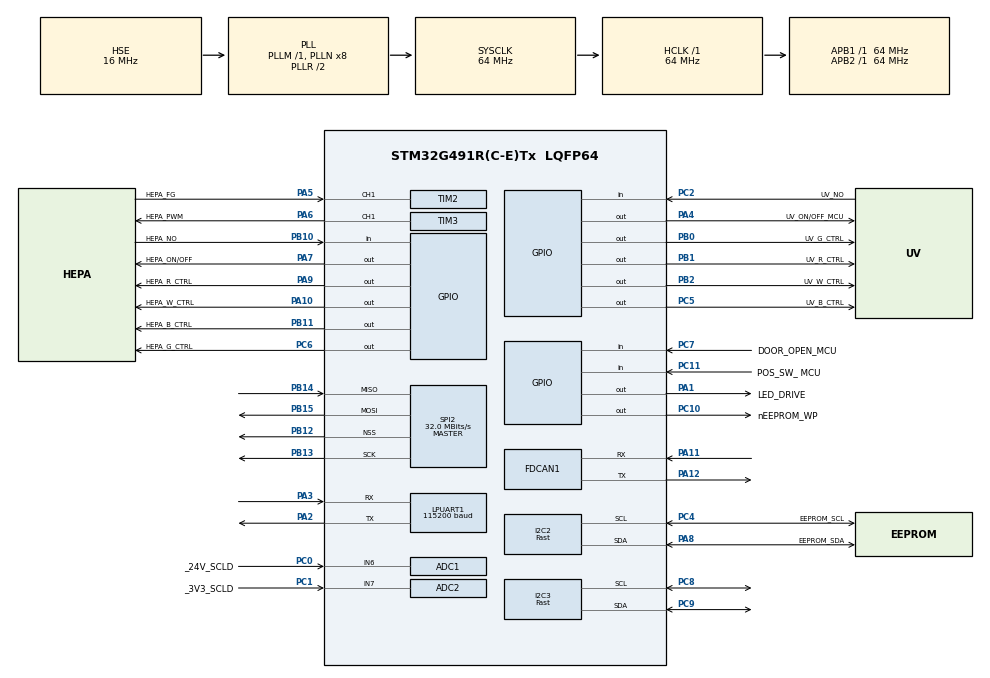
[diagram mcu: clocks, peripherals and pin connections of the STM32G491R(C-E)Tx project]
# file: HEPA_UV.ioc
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ADC1.Channel-1\#ChannelRegularConversion=ADC_CHANNEL_6
ADC1.NbrOfConversionFlag=1
ADC1.OffsetNumber-1\#ChannelRegularConversion=ADC_OFFSET_NONE
ADC1.Rank-1\#ChannelRegularConversion=1
ADC1.SamplingTime-1\#ChannelRegularConversion=ADC_SAMPLETIME_12CYCLES_5
ADC1.master=1
ADC2.Channel-0\#ChannelRegularConversion=ADC_CHANNEL_7
ADC2.NbrOfConversionFlag=1
ADC2.OffsetNumber-0\#ChannelRegularConversion=ADC_OFFSET_NONE
ADC2.Rank-0\#ChannelRegularConversion=1
ADC2.SamplingTime-0\#ChannelRegularConversion=ADC_SAMPLETIME_2CYCLES_5
FDCAN1.CalculateBaudRateNominal=500000
FDCAN1.CalculateTimeBitNominal=2000
FDCAN1.CalculateTimeQuantumNominal=15.625
FDCAN1.DataTimeSeg1=32
FDCAN1.NominalPrescaler=1
FDCAN1.NominalTimeSeg1=110
FDCAN1.NominalTimeSeg2=17
I2C2.I2C_Speed_Mode=I2C_Fast
I2C2.Timing=0x00602173
I2C3.I2C_Speed_Mode=I2C_Fast
I2C3.Timing=0x00602173
LPUART1.BaudRate=115200
Mcu.Family=STM32G4
Mcu.Name=STM32G491R(C-E)Tx
Mcu.Package=LQFP64
NVIC.PriorityGroup=NVIC_PRIORITYGROUP_4
NVIC.TIM2_IRQn=true\:0\:0\:false\:false\:true\:true\:true\:true
PA1.GPIO_Label=LED_DRIVE
PA1.GPIO_ModeDefaultOutputPP=GPIO_MODE_OUTPUT_OD
PA1.GPIO_PuPd=GPIO_NOPULL
PA1.Signal=GPIO_Output
PA10.GPIO_Label=HEPA_W_CTRL
PA10.Signal=GPIO_Output
PA11.Mode=FDCAN_Activate
PA11.Signal=FDCAN1_RX
PA12.Mode=FDCAN_Activate
PA12.Signal=FDCAN1_TX
PA13.Signal=SYS_JTMS-SWDIO
PA14.Signal=SYS_JTCK-SWCLK
PA15.Signal=SYS_JTDI
PA2.Mode=Asynchronous
PA2.Signal=LPUART1_TX
PA3.Mode=Asynchronous
PA3.Signal=LPUART1_RX
PA4.GPIO_Label=UV_ON/OFF_MCU
PA4.GPIO_Speed=GPIO_SPEED_FREQ_LOW
PA4.PinState=GPIO_PIN_RESET
PA4.Signal=GPIO_Output
PA5.GPIO_Label=HEPA_FG
PA5.Signal=S_TIM2_CH1
PA6.GPIO_Label=HEPA_PWM
PA6.Signal=S_TIM3_CH1
PA7.GPIO_Label=HEPA_ON/OFF
PA7.PinState=GPIO_PIN_RESET
PA7.Signal=GPIO_Output
PA8.GPIO_Label=EEPROM_SDA
PA8.Mode=I2C
PA8.Signal=I2C2_SDA
PA9.GPIO_Label=HEPA_R_CTRL
PA9.Signal=GPIO_Output
PB0.GPIO_Label=UV_G_CTRL
PB0.Signal=GPIO_Output
PB1.GPIO_Label=UV_R_CTRL
PB1.Signal=GPIO_Output
PB10.GPIO_Label=HEPA_NO
PB10.Signal=GPIO_Input
PB11.GPIO_Label=HEPA_B_CTRL
PB11.Signal=GPIO_Output
PB12.Mode=NSS_Signal_Hard_Output
PB12.Signal=SPI2_NSS
PB13.Mode=Full_Duplex_Master
PB13.Signal=SPI2_SCK
PB14.Mode=Full_Duplex_Master
PB14.Signal=SPI2_MISO
PB15.Mode=Full_Duplex_Master
PB15.Signal=SPI2_MOSI
PB2.GPIO_Label=UV_W_CTRL
PB2.Signal=GPIO_Output
PB3.Signal=SYS_JTDO-SWO
PC0.GPIO_Label=_24V_SCLD
PC0.Mode=IN6-Single-Ended
PC0.Signal=ADC1_IN6
PC1.GPIO_Label=_3V3_SCLD
PC1.Signal=SharedAnalog_PC1
PC10.GPIO_Label=nEEPROM_WP
PC10.GPIO_ModeDefaultOutputPP=GPIO_MODE_OUTPUT_OD
PC10.GPIO_PuPd=GPIO_NOPULL
PC10.Signal=GPIO_Output
PC11.GPIO_Label=POS_SW_ MCU
PC11.Signal=GPIO_Input
PC2.GPIO_Label=UV_NO
PC2.Signal=GPIO_Input
PC4.GPIO_Label=EEPROM_SCL
PC4.Mode=I2C
PC4.Signal=I2C2_SCL
PC5.GPIO_Label=UV_B_CTRL
PC5.Signal=GPIO_Output
PC6.GPIO_Label=HEPA_G_CTRL
PC6.Signal=GPIO_Output
PC7.GPIO_Label=DOOR_OPEN_MCU
PC7.Signal=GPIO_Input
PC8.Mode=I2C
PC8.Signal=I2C3_SCL
PC9.Mode=I2C
PC9.Signal=I2C3_SDA
PF0-OSC_IN.Mode=HSE-External-Oscillator
PF0-OSC_IN.Signal=RCC_OSC_IN
PF1-OSC_OUT.Mode=HSE-External-Oscillator
PF1-OSC_OUT.Signal=RCC_OSC_OUT
ProjectManager.HeapSize=0x200
ProjectManager.StackSize=0x400
ProjectManager.TargetToolchain=STM32CubeIDE
RCC.ADC12Freq_Value=64000000
RCC.ADC345Freq_Value=64000000
RCC.AHBFreq_Value=64000000
RCC.APB1Freq_Value=64000000
RCC.APB1TimFreq_Value=64000000
RCC.APB2Freq_Value=64000000
RCC.APB2TimFreq_Value=64000000
RCC.CortexFreq_Value=64000000
RCC.EXTERNAL_CLOCK_VALUE=12288000
RCC.HCLKFreq_Value=64000000
RCC.HSE_VALUE=16000000
RCC.HSI48_VALUE=48000000
RCC.HSI_VALUE=16000000
RCC.LSE_VALUE=32768
RCC.PLLSourceVirtual=RCC_PLLSOURCE_HSE
RCC.SYSCLKFreq_VALUE=64000000
RCC.SYSCLKSource=RCC_SYSCLKSOURCE_PLLCLK
RCC.USBFreq_Value=48000000
RCC.VCOOutputFreq_Value=128000000
SH.S_TIM2_CH1.0=TIM2_CH1,Input_Capture1_from_TI1
SH.S_TIM3_CH1.0=TIM3_CH1,PWM Generation1 CH1
SH.SharedAnalog_PC1.0=ADC2_IN7,IN7-Single-Ended
SH.SharedAnalog_PC1.1=ADC1_IN7,IN7-Single-Ended
SPI2.CalculateBaudRate=32.0 MBits/s
SPI2.Direction=SPI_DIRECTION_2LINES
SPI2.Mode=SPI_MODE_MASTER
SPI2.VirtualNSS=VM_NSSHARD
SPI2.VirtualType=VM_MASTER
TIM2.Channel-Input_Capture1_from_TI1=TIM_CHANNEL_1
TIM2.Prescaler=640-1
TIM3.Channel-PWM\ Generation1\ CH1=TIM_CHANNEL_1
VP_SYS_VS_DBSignals.Mode=DisableDeadBatterySignals
VP_TIM2_VS_ClockSourceINT.Mode=Internal
VP_TIM3_VS_ClockSourceINT.Mode=Internal
board=custom

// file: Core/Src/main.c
/* USER CODE BEGIN Header */

/*
 * HEPA/UV Test Code
*/
/**
  ******************************************************************************
  * @file           : main.c
  * @brief          : Main program body for HEPA_UV PCBA
  ******************************************************************************
  * @attention
  *
  * Copyright (c) 2022 STMicroelectronics.
  * All rights reserved.
  *
  * This software is licensed under terms that can be found in the LICENSE file
  * in the root directory of this software component.
  * If no LICENSE file comes with this software, it is provided AS-IS.
  *
  ******************************************************************************
  */
/* USER CODE END Header */
#include "main.h"

/* USER CODE BEGIN Includes */
#include "EEPROM.h"
#include "can.h"
#include "LEDs.h"
#include "voltage_monitors.h"
#include <math.h>
#include <string.h>
#include <stdio.h>
/* USER CODE END Includes */

ADC_HandleTypeDef hadc1;
ADC_HandleTypeDef hadc2;

FDCAN_HandleTypeDef hfdcan1;

I2C_HandleTypeDef hi2c2;
I2C_HandleTypeDef hi2c3;

UART_HandleTypeDef hlpuart1;

SPI_HandleTypeDef hspi2;

TIM_HandleTypeDef htim2;
TIM_HandleTypeDef htim3;

void SystemClock_Config(void);
static void MX_GPIO_Init(void);
static void MX_FDCAN1_Init(void);
static void MX_I2C2_Init(void);
static void MX_LPUART1_UART_Init(void);
static void MX_TIM2_Init(void);
static void MX_TIM3_Init(void);
static void MX_ADC1_Init(void);
static void MX_ADC2_Init(void);
static void MX_I2C3_Init(void);
static void MX_SPI2_Init(void);
/* USER CODE BEGIN PFP */

void UVLEDTest(void);
void HEPALEDTest(void);

/* USER CODE END PFP */

/* USER CODE BEGIN 0 */

#define TIMCLOCK   64000000
#define PRESCALAR  64

uint32_t IC_Val1 = 0;
uint32_t IC_Val2 = 0;
uint32_t IC_Val3 = 0;
uint32_t IC_Val4 = 0;
uint32_t IC_Val5 = 0;
uint32_t DifferenceT1 = 0;
uint32_t DifferenceT2 = 0;
uint32_t DifferenceT3 = 0;
uint32_t DifferenceT4 = 0;
int Is_First_Captured = 0;
int Is_Second_Captured = 0;
int Is_Third_Captured = 0;
int Is_Fourth_Captured = 0;
uint32_t usWidthT1 = 0;
uint32_t usWidthT2 = 0;
uint32_t usWidthT3 = 0;
uint32_t usWidthT4 = 0;
uint32_t usWidthT = 0;
float RPM = 0;
char buf[100];
int ready = 1;

/* CAN Configuration */
uint8_t debug_str[32];
uint8_t RxData[8];
uint8_t TxData[8];
FDCAN_RxHeaderTypeDef RxHeader;
FDCAN_TxHeaderTypeDef TxHeader;

/* EEPROM */
uint8_t dataRead[50];
uint8_t dataWrite[50];
uint8_t dataw1[] = "HEPA/UV \r\n";
uint8_t dataw2[] = "PN: 913-00072 \r\n";
uint8_t dataw3[] = "SN: 0002 \r\n";
uint8_t datar1[100];
uint8_t datar2[100];
uint8_t datar3[100];

//void HAL_TIM_IC_CaptureCallback(TIM_HandleTypeDef *htim)
//	{
//	if (htim->Channel == HAL_TIM_ACTIVE_CHANNEL_1)  // if the interrupt source is channel1
//	{
//		//HAL_GPIO_TogglePin(LED_DRIVE_GPIO_Port, LED_DRIVE_Pin);
//		//HAL_UART_Transmit(&hlpuart1, dataw3, sizeof(dataw3), HAL_MAX_DELAY);
//
//		if (Is_First_Captured==0) // if the first value is not captured yet
//		{
//			IC_Val1 = HAL_TIM_ReadCapturedValue(htim, TIM_CHANNEL_1); // read the first value
//			Is_First_Captured = 1;  // set the first captured as true
//		}
//
//		else if (Is_Second_Captured==0) // if the second value is not captured yet
//		{
//			IC_Val2 = HAL_TIM_ReadCapturedValue(htim, TIM_CHANNEL_1); // read the second value
//			if (IC_Val2 > IC_Val1)
//				{
//					DifferenceT1 = IC_Val2-IC_Val1;
//				}
//
//			else if (IC_Val1 > IC_Val2)
//				{
//					DifferenceT1 = (0xffffffff - IC_Val1) + IC_Val2;
//				}
//
//			float refClock = TIMCLOCK/(PRESCALAR);
//			float mFactor = 1000000/refClock;
//
//			usWidthT1 = DifferenceT1*mFactor;
//			Is_Second_Captured = 1;  // set the second captured as true
//
//			sprintf(buf, "usWidthT1 = %hu\r\n", (int)usWidthT1);
//			HAL_UART_Transmit(&hlpuart1, (uint8_t*)buf, strlen(buf), HAL_MAX_DELAY);
//		}
//
//		else if (Is_Third_Captured==0) // if the third value is not captured yet
//		{
//			IC_Val3 = HAL_TIM_ReadCapturedValue(htim, TIM_CHANNEL_1); // read the third value
//			if (IC_Val3 > IC_Val2)
//				{
//					DifferenceT2 = IC_Val3-IC_Val2;
//				}
//
//			else if (IC_Val2 > IC_Val3)
//				{
//					DifferenceT2 = (0xffffffff - IC_Val2) + IC_Val3;
//				}
//
//			float refClock = TIMCLOCK/(PRESCALAR);
//			float mFactor = 1000000/refClock;
//
//			usWidthT2 = DifferenceT2*mFactor;
//			Is_Third_Captured = 1;  // set the third captured as true
//
//			sprintf(buf, "usWidthT2 = %hu\r\n", (int)usWidthT2);
//			HAL_UART_Transmit(&hlpuart1, (uint8_t*)buf, strlen(buf), HAL_MAX_DELAY);
//		}
//		else if (Is_Fourth_Captured==0) // if the fourth value is not captured yet
//		{
//			IC_Val4 = HAL_TIM_ReadCapturedValue(htim, TIM_CHANNEL_1); // read the fourth value
//			if (IC_Val4 > IC_Val3)
//			{
//				DifferenceT3 = IC_Val4-IC_Val3;
//			}
//
//			else if (IC_Val3 > IC_Val4)
//			{
//				DifferenceT3 = (0xffffffff - IC_Val3) + IC_Val4;
//			}
//
//			float refClock = TIMCLOCK/(PRESCALAR);
//			float mFactor = 1000000/refClock;
//
//			usWidthT3 = DifferenceT3*mFactor;
//			Is_Fourth_Captured = 1;  // set the fourth captured as true
//
//			sprintf(buf, "usWidthT3 = %hu\r\n", (int)usWidthT3);
//			HAL_UART_Transmit(&hlpuart1, (uint8_t*)buf, strlen(buf), HAL_MAX_DELAY);
//		}
//		else // read fifth value
//		{
//			IC_Val5 = HAL_TIM_ReadCapturedValue(htim, TIM_CHANNEL_1); // read the fifth value
//			if (IC_Val5 > IC_Val4)
//			{
//				DifferenceT4 = IC_Val5-IC_Val4;
//			}
//
//			else if (IC_Val4 > IC_Val5)
//			{
//				DifferenceT4 = (0xffffffff - IC_Val4) + IC_Val5;
//			}
//
//			float refClock = TIMCLOCK/(PRESCALAR);
//			float mFactor = 1000000/refClock;
//
//			usWidthT4 = DifferenceT4*mFactor;
//			usWidthT = usWidthT1 + usWidthT2 + usWidthT3 + usWidthT4;
//			//RPM = 60/(usWidthT/1000000);
//			RPM = round(60/((float)usWidthT/1000000));
//
//			__HAL_TIM_SET_COUNTER(htim, 0);  // reset the counter
//			Is_First_Captured = 0; // set it back to false
//			Is_Second_Captured = 0; // set it back to false
//			Is_Third_Captured = 0; // set it back to false
//			Is_Fourth_Captured = 0; // set it back to false
//
//			sprintf(buf, "usWidthT4 = %hu\r\n", (int)usWidthT4);
//			HAL_UART_Transmit(&hlpuart1, (uint8_t*)buf, strlen(buf), HAL_MAX_DELAY);
//
//			sprintf(buf, "usWidthT = %hu\r\n", (int)usWidthT);
//			HAL_UART_Transmit(&hlpuart1, (uint8_t*)buf, strlen(buf), HAL_MAX_DELAY);
//
//			sprintf(buf, "RPM = %.0f\r\n", RPM);
//			HAL_UART_Transmit(&hlpuart1, (uint8_t*)buf, strlen(buf), HAL_MAX_DELAY);
//
//			HAL_UART_Transmit(&hlpuart1, "\n", 1, HAL_MAX_DELAY);
//
//		}
//	}
//  }

/* USER CODE END 0 */

int main(void)
{

  /* MCU Configuration--------------------------------------------------------*/

  /* Reset of all peripherals, Initializes the Flash interface and the Systick. */
  HAL_Init();

  /* Configure the system clock */
  SystemClock_Config();

  /* Initialize all configured peripherals */
  MX_GPIO_Init();
  MX_FDCAN1_Init();
  MX_I2C2_Init();
  MX_LPUART1_UART_Init();
  MX_TIM2_Init();
  MX_TIM3_Init();
  MX_ADC1_Init();
  MX_ADC2_Init();
  MX_I2C3_Init();
  MX_SPI2_Init();
  /* USER CODE BEGIN 2 */

  /* Test EEPROM */
//  HAL_GPIO_WritePin(nEEPROM_WP_GPIO_Port, nEEPROM_WP_Pin, GPIO_PIN_RESET);

  /* Erase EEPROM */
//  for (uint8_t i=0; i<251; i++)
//    {
//	  EEPROM_PageErase (i);
//    }

  /* Write to EEPROM */
//  EEPROM_Write(0, 0, dataw1, strlen((char *)dataw1));
//  EEPROM_Write(1, 0, dataw2, strlen((char *)dataw2));
//  EEPROM_Write(2, 0, dataw3, strlen((char *)dataw3));

  /* Read EEPROM */
//  EEPROM_Read(0, 0, datar1, 50);
  //EEPROM_Read(1, 0, datar1, 50);
  //EEPROM_Read(2, 0, datar1, 50);

  /* Start Tach Capture */
//  if(HAL_TIM_IC_Start_IT(&htim2, TIM_CHANNEL_1) != HAL_OK)
//  {
//    Error_Handler();
//  }
//  __HAL_TIM_ENABLE_IT(&htim2, TIM_IT_UPDATE);
  //HAL_GPIO_WritePin(HEPA_ON_OFF_GPIO_Port, HEPA_ON_OFF_Pin, GPIO_PIN_SET);

  //HAL_GPIO_WritePin(UV_ON_OFF_MCU_GPIO_Port, UV_ON_OFF_MCU_Pin, GPIO_PIN_SET);

  /* USER CODE END 2 */

  /* Infinite loop */
  /* USER CODE BEGIN WHILE */
  while (1)
  {
	  /* LED Blink */
//	  	HAL_GPIO_TogglePin(LED_DRIVE_GPIO_Port, LED_DRIVE_Pin);
//	  	HAL_Delay(100);

	  /* CAN FD Test */
	  	 // test_can_bus();

	  if (HAL_GPIO_ReadPin(DOOR_OPEN_MCU_GPIO_Port, DOOR_OPEN_MCU_Pin))
	  {
		  HAL_GPIO_WritePin(UV_ON_OFF_MCU_GPIO_Port, UV_ON_OFF_MCU_Pin, GPIO_PIN_SET);
		  HAL_GPIO_WritePin(UV_B_CTRL_GPIO_Port, UV_B_CTRL_Pin, GPIO_PIN_RESET);
		  ready = 1;
	  }
	  else if (HAL_GPIO_ReadPin(POS_SW_MCU_GPIO_Port, POS_SW_MCU_Pin))
	  	  {
	  		  HAL_GPIO_WritePin(UV_ON_OFF_MCU_GPIO_Port, UV_ON_OFF_MCU_Pin, GPIO_PIN_SET);
	  		  HAL_GPIO_WritePin(UV_B_CTRL_GPIO_Port, UV_B_CTRL_Pin, GPIO_PIN_RESET);
	  		  ready = 1;
	  	  }
	  else ready = 0;

	  /* Test UV ON/OFF Pin */
	  if (ready == 0)
	  {
		  if (!HAL_GPIO_ReadPin(UV_NO_GPIO_Port, UV_NO_Pin))
	    {
	  	  HAL_GPIO_TogglePin(UV_ON_OFF_MCU_GPIO_Port, UV_ON_OFF_MCU_Pin);
	  	  if(!HAL_GPIO_ReadPin(UV_ON_OFF_MCU_GPIO_Port, UV_ON_OFF_MCU_Pin))
	  	  {
	  		  HAL_GPIO_WritePin(UV_B_CTRL_GPIO_Port, UV_B_CTRL_Pin, GPIO_PIN_SET);
	  	  }
	  	  else HAL_GPIO_WritePin(UV_B_CTRL_GPIO_Port, UV_B_CTRL_Pin, GPIO_PIN_RESET);
	  	  HAL_Delay(500);
	    }
	  }

	  /* Test HEPA ON/OFF Pin */
		if (!HAL_GPIO_ReadPin(HEPA_NO_GPIO_Port, HEPA_NO_Pin))
		{
		  HAL_GPIO_TogglePin(HEPA_ON_OFF_GPIO_Port, HEPA_ON_OFF_Pin);
		  HAL_GPIO_TogglePin(HEPA_B_CTRL_GPIO_Port, HEPA_B_CTRL_Pin);
		  HAL_Delay(500);
		}
	   HAL_Delay(100);

	  /* Get 24V and 3V3 ADC readings */
//		get_vin();
//		get_3V3();

	  /* Test UV LED */
//	    UVLEDTest();

	  /* Test HEPA LED */
//	    HEPALEDTest();

    /* USER CODE END WHILE */

  }
}

void SystemClock_Config(void)
{
  RCC_OscInitTypeDef RCC_OscInitStruct = {0};
  RCC_ClkInitTypeDef RCC_ClkInitStruct = {0};

  /** Configure the main internal regulator output voltage
  */
  HAL_PWREx_ControlVoltageScaling(PWR_REGULATOR_VOLTAGE_SCALE1);

  /** Initializes the RCC Oscillators according to the specified parameters
  * in the RCC_OscInitTypeDef structure.
  */
  RCC_OscInitStruct.OscillatorType = RCC_OSCILLATORTYPE_HSE;
  RCC_OscInitStruct.HSEState = RCC_HSE_ON;
  RCC_OscInitStruct.PLL.PLLState = RCC_PLL_ON;
  RCC_OscInitStruct.PLL.PLLSource = RCC_PLLSOURCE_HSE;
  RCC_OscInitStruct.PLL.PLLM = RCC_PLLM_DIV1;
  RCC_OscInitStruct.PLL.PLLN = 8;
  RCC_OscInitStruct.PLL.PLLP = RCC_PLLP_DIV2;
  RCC_OscInitStruct.PLL.PLLQ = RCC_PLLQ_DIV2;
  RCC_OscInitStruct.PLL.PLLR = RCC_PLLR_DIV2;
  if (HAL_RCC_OscConfig(&RCC_OscInitStruct) != HAL_OK)
  {
    Error_Handler();
  }

  /** Initializes the CPU, AHB and APB buses clocks
  */
  RCC_ClkInitStruct.ClockType = RCC_CLOCKTYPE_HCLK|RCC_CLOCKTYPE_SYSCLK
                              |RCC_CLOCKTYPE_PCLK1|RCC_CLOCKTYPE_PCLK2;
  RCC_ClkInitStruct.SYSCLKSource = RCC_SYSCLKSOURCE_PLLCLK;
  RCC_ClkInitStruct.AHBCLKDivider = RCC_SYSCLK_DIV1;
  RCC_ClkInitStruct.APB1CLKDivider = RCC_HCLK_DIV1;
  RCC_ClkInitStruct.APB2CLKDivider = RCC_HCLK_DIV1;

  if (HAL_RCC_ClockConfig(&RCC_ClkInitStruct, FLASH_LATENCY_2) != HAL_OK)
  {
    Error_Handler();
  }
}

static void MX_ADC1_Init(void)
{

  ADC_MultiModeTypeDef multimode = {0};
  ADC_ChannelConfTypeDef sConfig = {0};

  /** Common config
  */
  hadc1.Instance = ADC1;
  hadc1.Init.ClockPrescaler = ADC_CLOCK_SYNC_PCLK_DIV2;
  hadc1.Init.Resolution = ADC_RESOLUTION_12B;
  hadc1.Init.DataAlign = ADC_DATAALIGN_RIGHT;
  hadc1.Init.GainCompensation = 0;
  hadc1.Init.ScanConvMode = ADC_SCAN_DISABLE;
  hadc1.Init.EOCSelection = ADC_EOC_SINGLE_CONV;
  hadc1.Init.LowPowerAutoWait = DISABLE;
  hadc1.Init.ContinuousConvMode = DISABLE;
  hadc1.Init.NbrOfConversion = 1;
  hadc1.Init.DiscontinuousConvMode = DISABLE;
  hadc1.Init.ExternalTrigConv = ADC_SOFTWARE_START;
  hadc1.Init.ExternalTrigConvEdge = ADC_EXTERNALTRIGCONVEDGE_NONE;
  hadc1.Init.DMAContinuousRequests = DISABLE;
  hadc1.Init.Overrun = ADC_OVR_DATA_PRESERVED;
  hadc1.Init.OversamplingMode = DISABLE;
  if (HAL_ADC_Init(&hadc1) != HAL_OK)
  {
    Error_Handler();
  }

  /** Configure the ADC multi-mode
  */
  multimode.Mode = ADC_MODE_INDEPENDENT;
  if (HAL_ADCEx_MultiModeConfigChannel(&hadc1, &multimode) != HAL_OK)
  {
    Error_Handler();
  }

  /** Configure Regular Channel
  */
  sConfig.Channel = ADC_CHANNEL_6;
  sConfig.Rank = ADC_REGULAR_RANK_1;
  sConfig.SamplingTime = ADC_SAMPLETIME_12CYCLES_5;
  sConfig.SingleDiff = ADC_SINGLE_ENDED;
  sConfig.OffsetNumber = ADC_OFFSET_NONE;
  sConfig.Offset = 0;
  if (HAL_ADC_ConfigChannel(&hadc1, &sConfig) != HAL_OK)
  {
    Error_Handler();
  }
  /* USER CODE BEGIN ADC1_Init 2 */

  HAL_ADCEx_Calibration_Start(&hadc1, ADC_SINGLE_ENDED);
  HAL_Delay(10);

  /* USER CODE END ADC1_Init 2 */

}

static void MX_ADC2_Init(void)
{

  ADC_ChannelConfTypeDef sConfig = {0};

  /** Common config
  */
  hadc2.Instance = ADC2;
  hadc2.Init.ClockPrescaler = ADC_CLOCK_SYNC_PCLK_DIV2;
  hadc2.Init.Resolution = ADC_RESOLUTION_12B;
  hadc2.Init.DataAlign = ADC_DATAALIGN_RIGHT;
  hadc2.Init.GainCompensation = 0;
  hadc2.Init.ScanConvMode = ADC_SCAN_DISABLE;
  hadc2.Init.EOCSelection = ADC_EOC_SINGLE_CONV;
  hadc2.Init.LowPowerAutoWait = DISABLE;
  hadc2.Init.ContinuousConvMode = DISABLE;
  hadc2.Init.NbrOfConversion = 1;
  hadc2.Init.DiscontinuousConvMode = DISABLE;
  hadc2.Init.ExternalTrigConv = ADC_SOFTWARE_START;
  hadc2.Init.ExternalTrigConvEdge = ADC_EXTERNALTRIGCONVEDGE_NONE;
  hadc2.Init.DMAContinuousRequests = DISABLE;
  hadc2.Init.Overrun = ADC_OVR_DATA_PRESERVED;
  hadc2.Init.OversamplingMode = DISABLE;
  if (HAL_ADC_Init(&hadc2) != HAL_OK)
  {
    Error_Handler();
  }

  /** Configure Regular Channel
  */
  sConfig.Channel = ADC_CHANNEL_7;
  sConfig.Rank = ADC_REGULAR_RANK_1;
  sConfig.SamplingTime = ADC_SAMPLETIME_2CYCLES_5;
  sConfig.SingleDiff = ADC_SINGLE_ENDED;
  sConfig.OffsetNumber = ADC_OFFSET_NONE;
  sConfig.Offset = 0;
  if (HAL_ADC_ConfigChannel(&hadc2, &sConfig) != HAL_OK)
  {
    Error_Handler();
  }
  /* USER CODE BEGIN ADC2_Init 2 */

  HAL_ADCEx_Calibration_Start(&hadc2, ADC_SINGLE_ENDED);
  HAL_Delay(10);

  /* USER CODE END ADC2_Init 2 */

}

static void MX_FDCAN1_Init(void)
{

  /* USER CODE BEGIN FDCAN1_Init 0 */
	//Change TxHeader.Identifier, RxHeader.Identifier
	/* AUX1 ID */
	//TxHeader.Identifier = 0xFFFF; //0x555;
	/* AUX2 ID */
	TxHeader.Identifier = 0xFAAA;
	TxHeader.IdType = FDCAN_EXTENDED_ID;
	TxHeader.TxFrameType = FDCAN_DATA_FRAME;
	TxHeader.DataLength = FDCAN_DLC_BYTES_8;
	TxHeader.ErrorStateIndicator = FDCAN_ESI_ACTIVE;
	TxHeader.BitRateSwitch = FDCAN_BRS_OFF;
	TxHeader.FDFormat = FDCAN_FD_CAN; // FDCAN_CLASSIC_CAN;
	TxHeader.TxEventFifoControl = FDCAN_NO_TX_EVENTS;
	TxHeader.MessageMarker = 0;

	/* AUX1 ID */
	//RxHeader.Identifier = 0xFFFF; //0x555;
	/* AUX2 ID */
	RxHeader.Identifier = 0xFAAA; //0x555;
	RxHeader.IdType = FDCAN_EXTENDED_ID;
	RxHeader.RxFrameType = FDCAN_DATA_FRAME;
	RxHeader.DataLength = FDCAN_DLC_BYTES_8;
	RxHeader.ErrorStateIndicator = FDCAN_ESI_ACTIVE;
	RxHeader.BitRateSwitch = FDCAN_BRS_OFF;
	RxHeader.FDFormat = FDCAN_FD_CAN; // FDCAN_CLASSIC_CAN;

  /* USER CODE END FDCAN1_Init 0 */

  hfdcan1.Instance = FDCAN1;
  hfdcan1.Init.ClockDivider = FDCAN_CLOCK_DIV1;
  hfdcan1.Init.FrameFormat = FDCAN_FRAME_CLASSIC;
  hfdcan1.Init.Mode = FDCAN_MODE_NORMAL;
  hfdcan1.Init.AutoRetransmission = DISABLE;
  hfdcan1.Init.TransmitPause = DISABLE;
  hfdcan1.Init.ProtocolException = DISABLE;
  hfdcan1.Init.NominalPrescaler = 1;
  hfdcan1.Init.NominalSyncJumpWidth = 1;
  hfdcan1.Init.NominalTimeSeg1 = 110;
  hfdcan1.Init.NominalTimeSeg2 = 17;
  hfdcan1.Init.DataPrescaler = 1;
  hfdcan1.Init.DataSyncJumpWidth = 1;
  hfdcan1.Init.DataTimeSeg1 = 32;
  hfdcan1.Init.DataTimeSeg2 = 1;
  hfdcan1.Init.StdFiltersNbr = 0;
  hfdcan1.Init.ExtFiltersNbr = 0;
  hfdcan1.Init.TxFifoQueueMode = FDCAN_TX_FIFO_OPERATION;
  if (HAL_FDCAN_Init(&hfdcan1) != HAL_OK)
  {
    Error_Handler();
  }
  /* USER CODE BEGIN FDCAN1_Init 2 */

  FDCAN_FilterTypeDef sFilterConfig;

  /* FD CAN Filter Config */
    sFilterConfig.IdType = FDCAN_EXTENDED_ID;
    sFilterConfig.FilterIndex = 0;
    sFilterConfig.FilterType = FDCAN_FILTER_DUAL;
    //sFilterConfig.FilterConfig = FDCAN_FILTER_REJECT;
    sFilterConfig.FilterConfig = FDCAN_FILTER_TO_RXFIFO0;

    /* Use for AUX1 - Reject AUX2 */
    //sFilterConfig.FilterID1 = 0xFAAA;
    //sFilterConfig.FilterID2 = 0xFAAA;

    /* Use for AUX2 - Reject AUX1 */
    sFilterConfig.FilterID1 = 0x00;
	sFilterConfig.FilterID2 = 0x00;

    if (HAL_FDCAN_ConfigFilter(&hfdcan1, &sFilterConfig) != HAL_OK)
    {
  	  /* Filter configuration Error */
  	  Error_Handler();
    }

/* Configure global filter to reject all non-matching frames */
    //HAL_FDCAN_ConfigGlobalFilter(&hfdcan1, FDCAN_REJECT, FDCAN_REJECT, FDCAN_REJECT_REMOTE, FDCAN_REJECT_REMOTE);

/* Start CAN */
  if (HAL_FDCAN_Start(&hfdcan1) != HAL_OK)
	{
		// Couldn't start FDCAN
		Error_Handler();
	}

  /* USER CODE END FDCAN1_Init 2 */

}

static void MX_I2C2_Init(void)
{

  hi2c2.Instance = I2C2;
  hi2c2.Init.Timing = 0x00602173;
  hi2c2.Init.OwnAddress1 = 0;
  hi2c2.Init.AddressingMode = I2C_ADDRESSINGMODE_7BIT;
  hi2c2.Init.DualAddressMode = I2C_DUALADDRESS_DISABLE;
  hi2c2.Init.OwnAddress2 = 0;
  hi2c2.Init.OwnAddress2Masks = I2C_OA2_NOMASK;
  hi2c2.Init.GeneralCallMode = I2C_GENERALCALL_DISABLE;
  hi2c2.Init.NoStretchMode = I2C_NOSTRETCH_DISABLE;
  if (HAL_I2C_Init(&hi2c2) != HAL_OK)
  {
    Error_Handler();
  }

  /** Configure Analogue filter
  */
  if (HAL_I2CEx_ConfigAnalogFilter(&hi2c2, I2C_ANALOGFILTER_ENABLE) != HAL_OK)
  {
    Error_Handler();
  }

  /** Configure Digital filter
  */
  if (HAL_I2CEx_ConfigDigitalFilter(&hi2c2, 0) != HAL_OK)
  {
    Error_Handler();
  }

}

static void MX_I2C3_Init(void)
{

  hi2c3.Instance = I2C3;
  hi2c3.Init.Timing = 0x00602173;
  hi2c3.Init.OwnAddress1 = 0;
  hi2c3.Init.AddressingMode = I2C_ADDRESSINGMODE_7BIT;
  hi2c3.Init.DualAddressMode = I2C_DUALADDRESS_DISABLE;
  hi2c3.Init.OwnAddress2 = 0;
  hi2c3.Init.OwnAddress2Masks = I2C_OA2_NOMASK;
  hi2c3.Init.GeneralCallMode = I2C_GENERALCALL_DISABLE;
  hi2c3.Init.NoStretchMode = I2C_NOSTRETCH_DISABLE;
  if (HAL_I2C_Init(&hi2c3) != HAL_OK)
  {
    Error_Handler();
  }

  /** Configure Analogue filter
  */
  if (HAL_I2CEx_ConfigAnalogFilter(&hi2c3, I2C_ANALOGFILTER_ENABLE) != HAL_OK)
  {
    Error_Handler();
  }

  /** Configure Digital filter
  */
  if (HAL_I2CEx_ConfigDigitalFilter(&hi2c3, 0) != HAL_OK)
  {
    Error_Handler();
  }

}

static void MX_LPUART1_UART_Init(void)
{

  hlpuart1.Instance = LPUART1;
  hlpuart1.Init.BaudRate = 115200;
  hlpuart1.Init.WordLength = UART_WORDLENGTH_8B;
  hlpuart1.Init.StopBits = UART_STOPBITS_1;
  hlpuart1.Init.Parity = UART_PARITY_NONE;
  hlpuart1.Init.Mode = UART_MODE_TX_RX;
  hlpuart1.Init.HwFlowCtl = UART_HWCONTROL_NONE;
  hlpuart1.Init.OneBitSampling = UART_ONE_BIT_SAMPLE_DISABLE;
  hlpuart1.Init.ClockPrescaler = UART_PRESCALER_DIV1;
  hlpuart1.AdvancedInit.AdvFeatureInit = UART_ADVFEATURE_NO_INIT;
  if (HAL_UART_Init(&hlpuart1) != HAL_OK)
  {
    Error_Handler();
  }
  if (HAL_UARTEx_SetTxFifoThreshold(&hlpuart1, UART_TXFIFO_THRESHOLD_1_8) != HAL_OK)
  {
    Error_Handler();
  }
  if (HAL_UARTEx_SetRxFifoThreshold(&hlpuart1, UART_RXFIFO_THRESHOLD_1_8) != HAL_OK)
  {
    Error_Handler();
  }
  if (HAL_UARTEx_DisableFifoMode(&hlpuart1) != HAL_OK)
  {
    Error_Handler();
  }

}

static void MX_SPI2_Init(void)
{

  /* SPI2 parameter configuration*/
  hspi2.Instance = SPI2;
  hspi2.Init.Mode = SPI_MODE_MASTER;
  hspi2.Init.Direction = SPI_DIRECTION_2LINES;
  hspi2.Init.DataSize = SPI_DATASIZE_8BIT;
  hspi2.Init.CLKPolarity = SPI_POLARITY_LOW;
  hspi2.Init.CLKPhase = SPI_PHASE_1EDGE;
  hspi2.Init.NSS = SPI_NSS_HARD_OUTPUT;
  hspi2.Init.BaudRatePrescaler = SPI_BAUDRATEPRESCALER_2;
  hspi2.Init.FirstBit = SPI_FIRSTBIT_MSB;
  hspi2.Init.TIMode = SPI_TIMODE_DISABLE;
  hspi2.Init.CRCCalculation = SPI_CRCCALCULATION_DISABLE;
  hspi2.Init.CRCPolynomial = 7;
  hspi2.Init.CRCLength = SPI_CRC_LENGTH_DATASIZE;
  hspi2.Init.NSSPMode = SPI_NSS_PULSE_ENABLE;
  if (HAL_SPI_Init(&hspi2) != HAL_OK)
  {
    Error_Handler();
  }

}

static void MX_TIM2_Init(void)
{

  TIM_ClockConfigTypeDef sClockSourceConfig = {0};
  TIM_MasterConfigTypeDef sMasterConfig = {0};
  TIM_IC_InitTypeDef sConfigIC = {0};

  htim2.Instance = TIM2;
  htim2.Init.Prescaler = 64-1;
  htim2.Init.CounterMode = TIM_COUNTERMODE_UP;
  htim2.Init.Period = 4.294967295E9;
  htim2.Init.ClockDivision = TIM_CLOCKDIVISION_DIV1;
  htim2.Init.AutoReloadPreload = TIM_AUTORELOAD_PRELOAD_DISABLE;
  if (HAL_TIM_Base_Init(&htim2) != HAL_OK)
  {
    Error_Handler();
  }
  sClockSourceConfig.ClockSource = TIM_CLOCKSOURCE_INTERNAL;
  if (HAL_TIM_ConfigClockSource(&htim2, &sClockSourceConfig) != HAL_OK)
  {
    Error_Handler();
  }
  if (HAL_TIM_IC_Init(&htim2) != HAL_OK)
  {
    Error_Handler();
  }
  sMasterConfig.MasterOutputTrigger = TIM_TRGO_RESET;
  sMasterConfig.MasterSlaveMode = TIM_MASTERSLAVEMODE_DISABLE;
  if (HAL_TIMEx_MasterConfigSynchronization(&htim2, &sMasterConfig) != HAL_OK)
  {
    Error_Handler();
  }
  sConfigIC.ICPolarity = TIM_INPUTCHANNELPOLARITY_BOTHEDGE;
  sConfigIC.ICSelection = TIM_ICSELECTION_DIRECTTI;
  sConfigIC.ICPrescaler = TIM_ICPSC_DIV1;
  sConfigIC.ICFilter = 0;
  if (HAL_TIM_IC_ConfigChannel(&htim2, &sConfigIC, TIM_CHANNEL_1) != HAL_OK)
  {
    Error_Handler();
  }

}

static void MX_TIM3_Init(void)
{

  TIM_ClockConfigTypeDef sClockSourceConfig = {0};
  TIM_MasterConfigTypeDef sMasterConfig = {0};
  TIM_OC_InitTypeDef sConfigOC = {0};

  htim3.Instance = TIM3;
  htim3.Init.Prescaler = 64-1;
  htim3.Init.CounterMode = TIM_COUNTERMODE_UP;
  htim3.Init.Period = 40-1;
  htim3.Init.ClockDivision = TIM_CLOCKDIVISION_DIV1;
  htim3.Init.AutoReloadPreload = TIM_AUTORELOAD_PRELOAD_DISABLE;
  if (HAL_TIM_Base_Init(&htim3) != HAL_OK)
  {
    Error_Handler();
  }
  sClockSourceConfig.ClockSource = TIM_CLOCKSOURCE_INTERNAL;
  if (HAL_TIM_ConfigClockSource(&htim3, &sClockSourceConfig) != HAL_OK)
  {
    Error_Handler();
  }
  if (HAL_TIM_PWM_Init(&htim3) != HAL_OK)
  {
    Error_Handler();
  }
  sMasterConfig.MasterOutputTrigger = TIM_TRGO_RESET;
  sMasterConfig.MasterSlaveMode = TIM_MASTERSLAVEMODE_DISABLE;
  if (HAL_TIMEx_MasterConfigSynchronization(&htim3, &sMasterConfig) != HAL_OK)
  {
    Error_Handler();
  }
  sConfigOC.OCMode = TIM_OCMODE_PWM1;
  sConfigOC.Pulse = 30;
  sConfigOC.OCPolarity = TIM_OCPOLARITY_HIGH;
  sConfigOC.OCFastMode = TIM_OCFAST_DISABLE;
  if (HAL_TIM_PWM_ConfigChannel(&htim3, &sConfigOC, TIM_CHANNEL_1) != HAL_OK)
  {
    Error_Handler();
  }
  /* USER CODE BEGIN TIM3_Init 2 */
  HAL_TIM_PWM_Start(&htim3, TIM_CHANNEL_1); // start pwm generation

  /* USER CODE END TIM3_Init 2 */
  HAL_TIM_MspPostInit(&htim3);

}

static void MX_GPIO_Init(void)
{
  GPIO_InitTypeDef GPIO_InitStruct = {0};

  /* GPIO Ports Clock Enable */
  __HAL_RCC_GPIOF_CLK_ENABLE();
  __HAL_RCC_GPIOC_CLK_ENABLE();
  __HAL_RCC_GPIOA_CLK_ENABLE();
  __HAL_RCC_GPIOB_CLK_ENABLE();

  /*Configure GPIO pin Output Level */
  HAL_GPIO_WritePin(GPIOA, LED_DRIVE_Pin|HEPA_ON_OFF_Pin|HEPA_R_CTRL_Pin
                          |HEPA_W_CTRL_Pin, GPIO_PIN_RESET);

  /*Configure GPIO pin Output Level */
  HAL_GPIO_WritePin(GPIOC, UV_B_CTRL_Pin|HEPA_G_CTRL_Pin|nEEPROM_WP_Pin, GPIO_PIN_RESET);

  /*Configure GPIO pin Output Level */
  HAL_GPIO_WritePin(GPIOB, UV_G_CTRL_Pin|UV_R_CTRL_Pin|UV_W_CTRL_Pin|HEPA_B_CTRL_Pin, GPIO_PIN_RESET);

  /*UV_ON_OFF is set by default to keep UV bulb off */
  HAL_GPIO_WritePin(UV_ON_OFF_MCU_GPIO_Port, UV_ON_OFF_MCU_Pin, GPIO_PIN_SET);

  /*Configure GPIO pins : UV_NO_Pin DOOR_OPEN_MCU_Pin POS_SW__MCU_Pin */
  GPIO_InitStruct.Pin = UV_NO_Pin|DOOR_OPEN_MCU_Pin|POS_SW_MCU_Pin;
  GPIO_InitStruct.Mode = GPIO_MODE_INPUT;
  GPIO_InitStruct.Pull = GPIO_NOPULL;
  HAL_GPIO_Init(GPIOC, &GPIO_InitStruct);

  /*Configure GPIO pin : LED_DRIVE_Pin */
  GPIO_InitStruct.Pin = LED_DRIVE_Pin;
  GPIO_InitStruct.Mode = GPIO_MODE_OUTPUT_OD;
  GPIO_InitStruct.Pull = GPIO_NOPULL;
  GPIO_InitStruct.Speed = GPIO_SPEED_FREQ_LOW;
  HAL_GPIO_Init(LED_DRIVE_GPIO_Port, &GPIO_InitStruct);

  /*Configure GPIO pins : UV_ON_OFF_MCU_Pin HEPA_ON_OFF_Pin HEPA_R_CTRL_Pin HEPA_W_CTRL_Pin */
  GPIO_InitStruct.Pin = UV_ON_OFF_MCU_Pin|HEPA_ON_OFF_Pin|HEPA_R_CTRL_Pin|HEPA_W_CTRL_Pin;
  GPIO_InitStruct.Mode = GPIO_MODE_OUTPUT_PP;
  GPIO_InitStruct.Pull = GPIO_NOPULL;
  GPIO_InitStruct.Speed = GPIO_SPEED_FREQ_LOW;
  HAL_GPIO_Init(GPIOA, &GPIO_InitStruct);

  /*Configure GPIO pins : UV_B_CTRL_Pin HEPA_G_CTRL_Pin */
  GPIO_InitStruct.Pin = UV_B_CTRL_Pin|HEPA_G_CTRL_Pin;
  GPIO_InitStruct.Mode = GPIO_MODE_OUTPUT_PP;
  GPIO_InitStruct.Pull = GPIO_NOPULL;
  GPIO_InitStruct.Speed = GPIO_SPEED_FREQ_LOW;
  HAL_GPIO_Init(GPIOC, &GPIO_InitStruct);

  /*Configure GPIO pins : UV_G_CTRL_Pin UV_R_CTRL_Pin UV_W_CTRL_Pin HEPA_B_CTRL_Pin */
  GPIO_InitStruct.Pin = UV_G_CTRL_Pin|UV_R_CTRL_Pin|UV_W_CTRL_Pin|HEPA_B_CTRL_Pin;
  GPIO_InitStruct.Mode = GPIO_MODE_OUTPUT_PP;
  GPIO_InitStruct.Pull = GPIO_NOPULL;
  GPIO_InitStruct.Speed = GPIO_SPEED_FREQ_LOW;
  HAL_GPIO_Init(GPIOB, &GPIO_InitStruct);

  /*Configure GPIO pin : HEPA_NO_Pin */
  GPIO_InitStruct.Pin = HEPA_NO_Pin;
  GPIO_InitStruct.Mode = GPIO_MODE_INPUT;
  GPIO_InitStruct.Pull = GPIO_NOPULL;
  HAL_GPIO_Init(HEPA_NO_GPIO_Port, &GPIO_InitStruct);

  /*Configure GPIO pin : nEEPROM_WP_Pin */
  GPIO_InitStruct.Pin = nEEPROM_WP_Pin;
  GPIO_InitStruct.Mode = GPIO_MODE_OUTPUT_OD;
  GPIO_InitStruct.Pull = GPIO_NOPULL;
  GPIO_InitStruct.Speed = GPIO_SPEED_FREQ_LOW;
  HAL_GPIO_Init(nEEPROM_WP_GPIO_Port, &GPIO_InitStruct);

}

void Error_Handler(void)
{
  __disable_irq();
  while (1)
  {
  }
}
